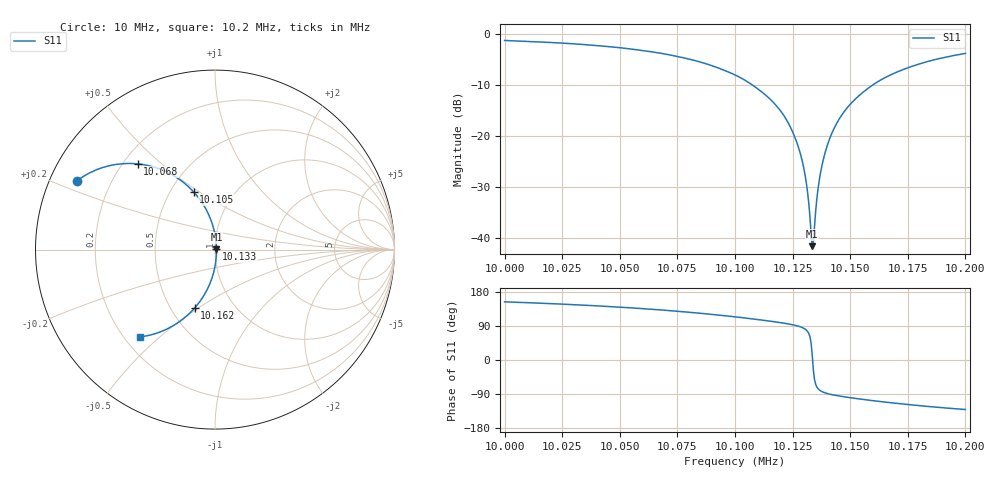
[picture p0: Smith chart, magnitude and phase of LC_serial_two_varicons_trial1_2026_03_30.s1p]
# HZ S RI R 50
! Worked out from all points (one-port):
!   401 points, 10 MHz to 10.2 MHz, reference 50 ohm
!   lowest |S11| = -41.5 dB at 10.133 MHz (marker M1), VSWR 1.02, Z = 50.8 + j0.222 ohm
!   |S11| at or under -10 dB: 10.107 MHz to 10.16 MHz (52.37 kHz wide, 0.517 % of centre)
!   S11 on the Smith chart (normalised r, x): 10 MHz: 0.08, +0.23; 10.068 MHz: 0.26, +0.42; 10.105 MHz: 0.65, +0.47; 10.133 MHz: 1.02, +0.00; 10.162 MHz: 0.65, -0.48; 10.2 MHz: 0.26, -0.43
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1e7  -0.7688 0.3843
1.0025e7  -0.6821 0.4356
1.005e7  -0.5549 0.474
1.0068e7  -0.4306 0.4776
1.0075e7  -0.3737 0.4684
1.00875e7  -0.2678 0.4319
1.01e7  -0.1606 0.3617
1.0105e7  -0.1198 0.3222
1.0117e7  -0.0402 0.2052
1.01215e7  -0.0188 0.1538
1.0125e7  -0.00574 0.1099
1.0128e7  0.00206 0.0718
1.013e7  0.00554 0.0464
1.01315e7  0.00713 0.0273
1.0133e7  0.00796 0.00835
1.01335e7  0.0081 0.00219
1.0134e7  0.00821 -0.00401
1.01345e7  0.00817 -0.0102
1.0136e7  0.00758 -0.029
1.0137e7  0.00679 -0.0417
1.0138e7  0.00567 -0.0545
1.01395e7  0.00327 -0.0738
1.01415e7  -0.00117 -0.0996
1.0144e7  -0.00854 -0.131
1.015e7  -0.0336 -0.2014
1.01625e7  -0.1138 -0.3259
1.0175e7  -0.214 -0.4123
1.02e7  -0.4183 -0.487
